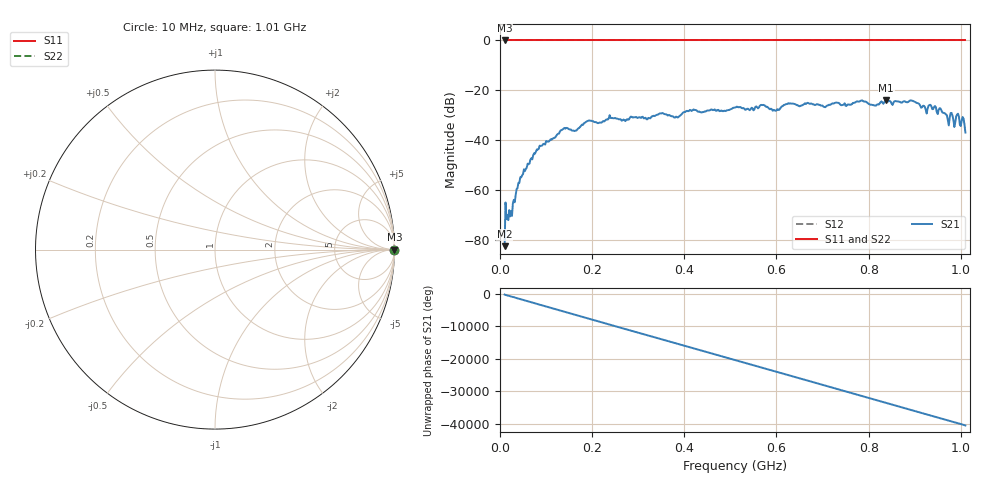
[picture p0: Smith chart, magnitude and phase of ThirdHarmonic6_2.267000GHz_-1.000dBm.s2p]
! 8/17/2025 2:50:36 AM
! C:\ANRITSUVNA\TEMP\TEMP.S2P
! CHANNEL.1
! TR.MEASUREMENT
! RAW.DATA
! RF.CORRECTION.OFF
! AVERAGING.OFF
! IF.BANDWIDTH: 5KHZ
! SWEEPTYPE:  FREQ.SWEEP(Linear)
! Reference Plane Port Info
! PORT:  PORT1  PORT2
! DISTANCE:  0  m  0  m
! TIME:  0  s  0  s
! PHASE.OFFSET:  0  deg.  0  deg.
! LOSS:  0  dB  0  dB
! REF.LOSS:  0  dB  0  dB
! REF.FREQ:  0  Hz  0  Hz
! Power Info
! POWER:  -20  dBm  -20  dBm
! EFF.POWER:  -20  dBm  -20  dBm
! SOURCE.ATTEN:  0  dB  0  dB
! TEST.ATTEN:  0  dB  0  dB
# GHZ S RI R 50.0
! FREQ.GHZ  S11RE  S11IM  S21RE  S21IM  S12RE  S12IM  S22RE  S22IM
!; PortSelection: Port_12
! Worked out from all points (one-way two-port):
!   501 points, 10 MHz to 1.01 GHz, reference 50 ohm
!   highest |S21| = -24.03 dB at 838 MHz (marker M1); lowest = -82.6 dB at 10 MHz (marker M2)
!   lowest |S11| = 0.0 dB at 10 MHz (marker M3)
!   |S11| at or under -10 dB: nowhere
!   |S22| runs from 0.0 to 0.0 dB; largest |S21 - S12| = 1.1
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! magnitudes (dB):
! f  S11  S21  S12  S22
! 10 MHz  0.0  -82.6  0.0  0.0
! 16 MHz  0.0  -70.0  0.0  0.0
! 22 MHz  0.0  -70.6  0.0  0.0
! 44 MHz  0.0  -54.9  0.0  0.0
! 76 MHz  0.0  -45.4  0.0  0.0
! 136 MHz  0.0  -35.7  0.0  0.0
! 162 MHz  0.0  -36.4  0.0  0.0
! 178 MHz  0.0  -33.8  0.0  0.0
! 344 MHz  0.0  -29.7  0.0  0.0
! 382 MHz  0.0  -30.6  0.0  0.0
! 416 MHz  0.0  -28.3  0.0  0.0
! 510 MHz  0.0  -26.9  0.0  0.0
! 570 MHz  0.0  -25.9  0.0  0.0
! 596 MHz  0.0  -28.1  0.0  0.0
! 626 MHz  0.0  -25.2  0.0  0.0
! 678 MHz  0.0  -25.6  0.0  0.0
! 838 MHz  0.0  -24.0  0.0  0.0
! 844 MHz  0.0  -24.3  0.0  0.0
! 934 MHz  0.0  -25.8  0.0  0.0
! 972 MHz  0.0  -32.1  0.0  0.0
! 994 MHz  0.0  -29.4  0.0  0.0
! 1.01 GHz  0.0  -37.0  0.0  0.0
